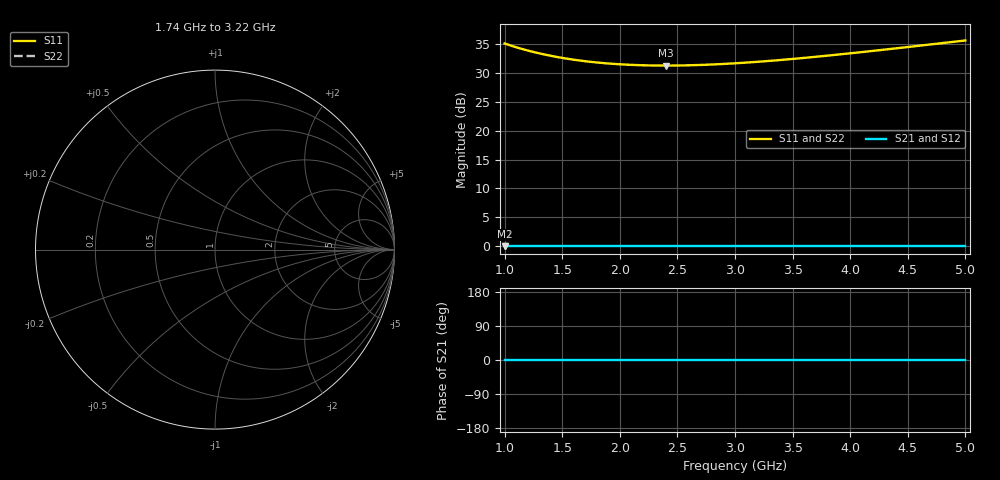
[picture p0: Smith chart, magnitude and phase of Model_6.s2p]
# GHZ S RI R 50
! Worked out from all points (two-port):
!   401 points, 1 GHz to 5 GHz, reference 50 ohm
!   highest |S21| = 0.00 dB at 1 GHz (marker M1); lowest = 0.0 dB at 1 GHz (marker M2)
!   |S21| within 3 dB of the highest: start of sweep to end of sweep
!   lowest |S11| = 31.3 dB at 2.4 GHz (marker M3)
!   |S11| at or under -10 dB: nowhere
!   |S22| runs from 31.3 to 35.6 dB; largest |S21 - S12| = 0
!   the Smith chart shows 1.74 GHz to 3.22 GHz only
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1  56.82 0  1 0  1 0  56.82 0
1.02  55.92 0  1 0  1 0  55.92 0
1.15  50.96 0  1 0  1 0  50.96 0
1.22  48.8 0  1 0  1 0  48.8 0
1.3  46.67 0  1 0  1 0  46.67 0
1.38  44.85 0  1 0  1 0  44.85 0
1.47  43.12 0  1 0  1 0  43.12 0
1.57  41.53 0  1 0  1 0  41.53 0
1.67  40.23 0  1 0  1 0  40.23 0
1.82  38.73 0  1 0  1 0  38.73 0
1.98  37.63 0  1 0  1 0  37.63 0
2.15  36.92 0  1 0  1 0  36.92 0
2.34  36.59 0  1 0  1 0  36.59 0
2.4  36.57 0  1 0  1 0  36.57 0
2.69  37 0  1 0  1 0  37 0
3  38.26 0  1 0  1 0  38.26 0
3.33  40.38 0  1 0  1 0  40.38 0
3.67  43.27 0  1 0  1 0  43.27 0
4  46.69 0  1 0  1 0  46.69 0
4.34  50.8 0  1 0  1 0  50.8 0
4.64  54.9 0  1 0  1 0  54.9 0
5  60.35 0  1 0  1 0  60.35 0
